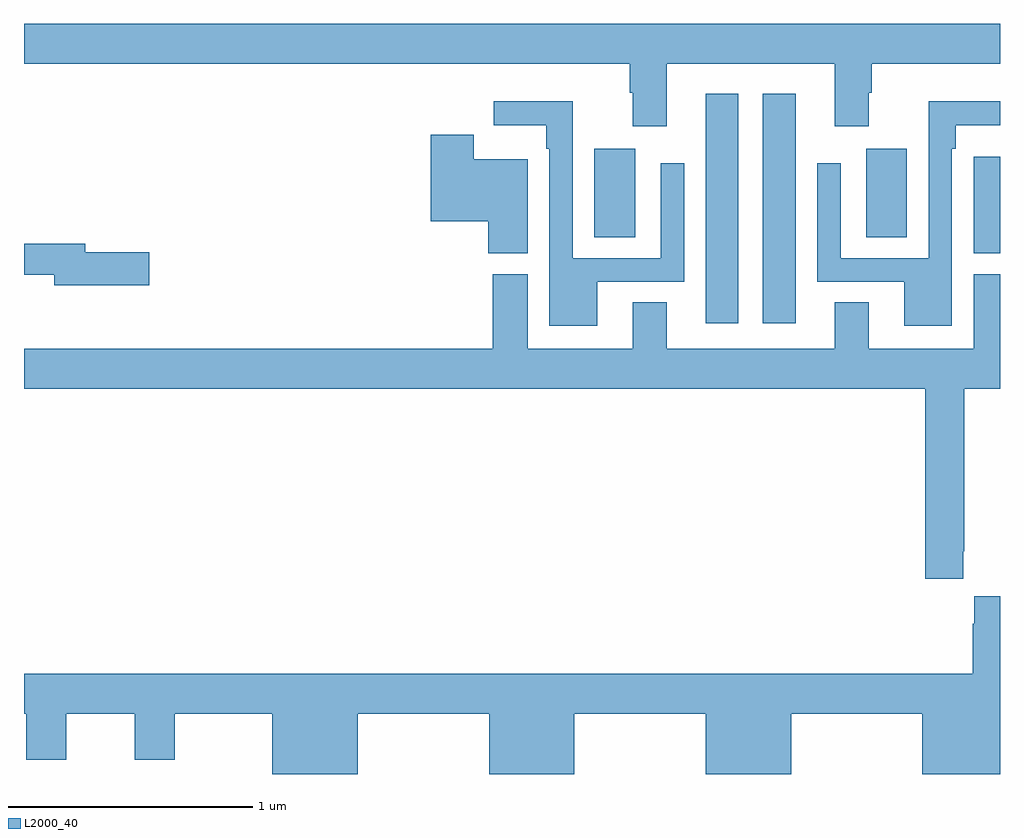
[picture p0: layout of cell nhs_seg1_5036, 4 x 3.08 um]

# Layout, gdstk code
import gdstk
lib = gdstk.Library(unit=1e-6, precision=1e-09)
def R(c, l, rs):  # rectangles x0, y0, x1, y1
    for r in rs: c.add(gdstk.rectangle(r[:2], r[2:], *l))
def P(c, l, *ps):  # polygons
    for p in ps: c.add(gdstk.Polygon(p, *l))
L2000_40 = (2000, 40)

nhs_seg1_5036 = lib.new_cell('nhs_seg1_5036')
R(nhs_seg1_5036, L2000_40, [(387.794,504.048,387.928,504.988), (388.028,504.048,388.162,504.988), (387.338,504.4,387.505,504.763), (388.451,504.4,388.618,504.763)])
P(nhs_seg1_5036, L2000_40, [(387.634,505.112),(388.322,505.112),(388.322,504.855),(388.462,504.855),(388.462,504.992),(388.475,504.992),(388.475,505.112),(389,505.112),(389,505.276),(385,505.276),(385,505.112),(387.482,505.112),(387.482,504.992),(387.494,504.992),(387.494,504.855),(387.634,504.855)],
  [(387.349,504.219),(387.705,504.219),(387.705,504.703),(387.609,504.703),(387.609,504.315),(387.249,504.315),(387.249,504.958),(386.925,504.958),(386.925,504.86),(387.141,504.86),(387.141,504.764),(387.153,504.764),(387.153,504.038),(387.349,504.038)],
  [(388.803,504.764),(388.819,504.764),(388.819,504.86),(389,504.86),(389,504.958),(388.707,504.958),(388.707,504.315),(388.347,504.315),(388.347,504.703),(388.251,504.703),(388.251,504.219),(388.607,504.219),(388.607,504.038),(388.803,504.038)],
  [(387.064,504.721),(386.844,504.721),(386.844,504.82),(386.666,504.82),(386.666,504.467),(386.903,504.467),(386.903,504.334),(387.064,504.334)],
  [(389,504.73),(388.893,504.73),(388.893,504.617),(388.892,504.617),(388.892,504.334),(389,504.334)],
  [(385.513,504.338),(385.252,504.338),(385.252,504.374),(385,504.374),(385,504.246),(385.124,504.246),(385.124,504.203),(385.513,504.203)],
  [(388.462,504.134),(388.322,504.134),(388.322,503.944),(387.634,503.944),(387.634,504.134),(387.494,504.134),(387.494,503.944),(387.064,503.944),(387.064,504.249),(386.921,504.249),(386.921,503.944),(385,503.944),(385,503.78),(388.694,503.78),(388.694,503.001),(388.849,503.001),(388.849,503.113),(388.854,503.113),(388.854,503.78),(389,503.78),(389,504.249),(388.892,504.249),(388.892,503.944),(388.462,503.944)],
  [(386.368,502.448),(386.906,502.448),(386.906,502.199),(387.256,502.199),(387.256,502.448),(387.794,502.448),(387.794,502.199),(388.144,502.199),(388.144,502.448),(388.682,502.448),(388.682,502.199),(389,502.199),(389,502.93),(388.895,502.93),(388.895,502.817),(388.889,502.817),(388.889,502.612),(385,502.612),(385,502.448),(385.01,502.448),(385.01,502.26),(385.174,502.26),(385.174,502.448),(385.454,502.448),(385.454,502.26),(385.618,502.26),(385.618,502.448),(386.018,502.448),(386.018,502.199),(386.368,502.199)])

lib.write_gds('nhs_seg1_5036.gds')
